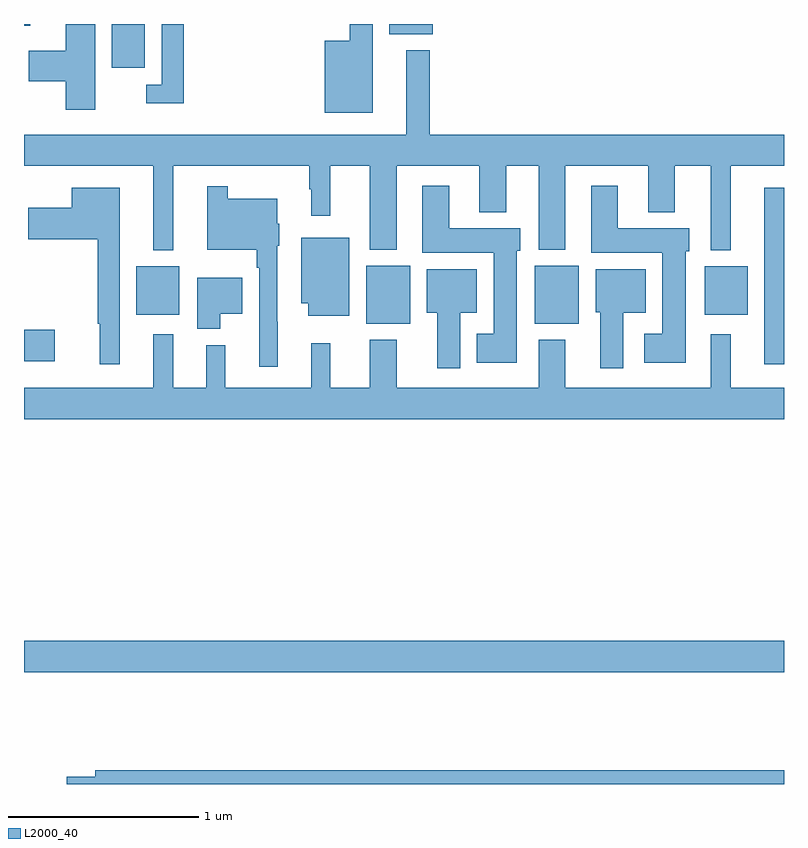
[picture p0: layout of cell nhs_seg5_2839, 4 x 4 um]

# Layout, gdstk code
import gdstk
lib = gdstk.Library(unit=1e-6, precision=1e-09)
def R(c, l, rs):  # rectangles x0, y0, x1, y1
    for r in rs: c.add(gdstk.rectangle(r[:2], r[2:], *l))
def P(c, l, *ps):  # polygons
    for p in ps: c.add(gdstk.Polygon(p, *l))
L2000_40 = (2000, 40)

nhs_seg5_2839 = lib.new_cell('nhs_seg5_2839')
R(nhs_seg5_2839, L2000_40, [(275,895.388,279,895.552), (278.897,897.009,279,897.937), (275,897.023,275.161,897.189), (276.8,897.221,277.033,897.526), (277.688,897.221,277.921,897.526), (275.591,897.269,275.818,897.523), (278.582,897.269,278.809,897.523), (275.462,898.568,275.635,898.799), (276.923,898.745,277.15,898.799), (275,898.79,275.032,898.799)])
P(nhs_seg5_2839, L2000_40, [(275.374,898.799),(275.219,898.799),(275.219,898.657),(275.026,898.657),(275.026,898.499),(275.219,898.499),(275.219,898.347),(275.374,898.347)],
  [(276.835,898.799),(276.714,898.799),(276.714,898.711),(276.584,898.711),(276.584,898.331),(276.835,898.331)],
  [(275.84,898.799),(275.724,898.799),(275.724,898.479),(275.643,898.479),(275.643,898.382),(275.84,898.382)],
  [(275.785,898.052),(276.501,898.052),(276.501,897.929),(276.512,897.929),(276.512,897.789),(276.611,897.789),(276.611,898.052),(276.821,898.052),(276.821,897.611),(276.961,897.611),(276.961,898.052),(277.397,898.052),(277.397,897.809),(277.537,897.809),(277.537,898.052),(277.709,898.052),(277.709,897.611),(277.849,897.611),(277.849,898.052),(278.285,898.052),(278.285,897.809),(278.425,897.809),(278.425,898.052),(278.615,898.052),(278.615,897.608),(278.719,897.608),(278.719,898.052),(279,898.052),(279,898.216),(277.135,898.216),(277.135,898.66),(277.013,898.66),(277.013,898.216),(275,898.216),(275,898.052),(275.681,898.052),(275.681,897.608),(275.785,897.608)],
  [(277.594,897.606),(277.612,897.606),(277.612,897.724),(277.237,897.724),(277.237,897.949),(277.097,897.949),(277.097,897.596),(277.472,897.596),(277.472,897.169),(277.382,897.169),(277.382,897.017),(277.594,897.017)],
  [(278.482,897.603),(278.5,897.603),(278.5,897.724),(278.125,897.724),(278.125,897.949),(277.985,897.949),(277.985,897.596),(278.36,897.596),(278.36,897.169),(278.265,897.169),(278.265,897.017),(278.482,897.017)],
  [(276.335,897.233),(276.333,897.233),(276.333,897.633),(276.343,897.633),(276.343,897.747),(276.334,897.747),(276.334,897.88),(276.073,897.88),(276.073,897.946),(275.964,897.946),(275.964,897.611),(276.225,897.611),(276.225,897.515),(276.237,897.515),(276.237,896.994),(276.335,896.994)],
  [(275.503,897.937),(275.252,897.937),(275.252,897.832),(275.022,897.832),(275.022,897.667),(275.389,897.667),(275.389,897.221),(275.399,897.221),(275.399,897.009),(275.503,897.009)],
  [(276.712,897.673),(276.458,897.673),(276.458,897.329),(276.497,897.329),(276.497,897.263),(276.712,897.263)],
  [(277.297,897.278),(277.384,897.278),(277.384,897.508),(277.121,897.508),(277.121,897.278),(277.175,897.278),(277.175,896.988),(277.297,896.988)],
  [(278.155,897.278),(278.272,897.278),(278.272,897.508),(278.009,897.508),(278.009,897.282),(278.033,897.282),(278.033,896.988),(278.155,896.988)],
  [(276.034,897.275),(276.148,897.275),(276.148,897.463),(275.912,897.463),(275.912,897.194),(276.034,897.194)],
  [(279,896.884),(278.719,896.884),(278.719,897.166),(278.615,897.166),(278.615,896.884),(277.849,896.884),(277.849,897.136),(277.709,897.136),(277.709,896.884),(276.961,896.884),(276.961,897.136),(276.821,897.136),(276.821,896.884),(276.611,896.884),(276.611,897.118),(276.512,897.118),(276.512,896.884),(276.059,896.884),(276.059,897.109),(275.96,897.109),(275.96,896.884),(275.785,896.884),(275.785,897.166),(275.681,897.166),(275.681,896.884),(275,896.884),(275,896.72),(279,896.72)],
  [(279,894.872),(275.375,894.872),(275.375,894.836),(275.226,894.836),(275.226,894.799),(279,894.799)])

lib.write_gds('nhs_seg5_2839.gds')
